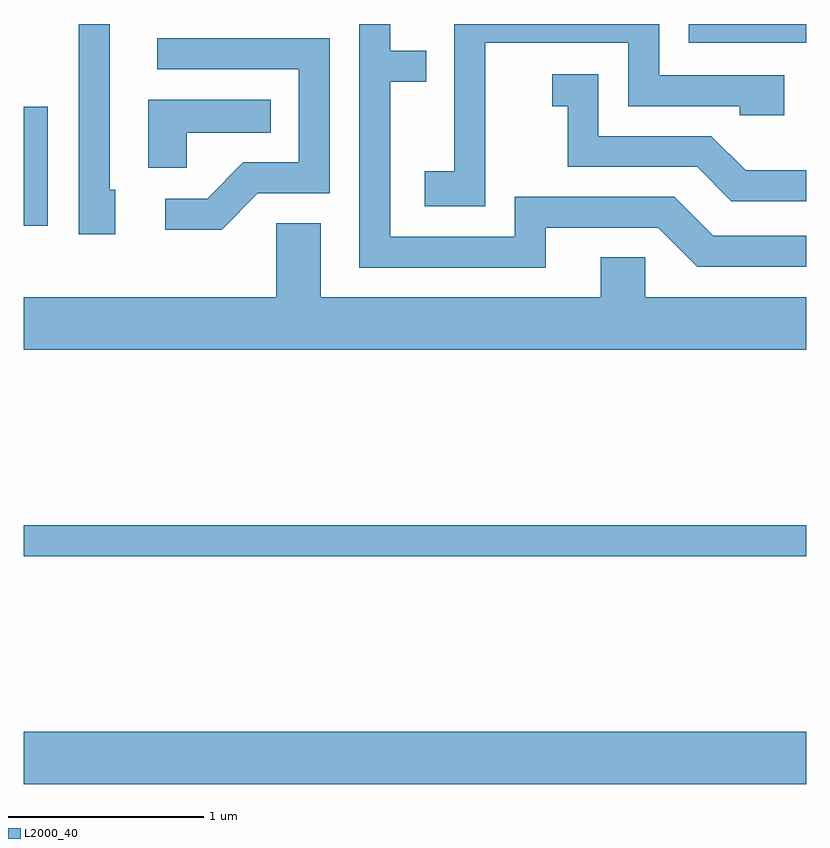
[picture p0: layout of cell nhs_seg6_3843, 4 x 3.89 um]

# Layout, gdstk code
import gdstk
lib = gdstk.Library(unit=1e-6, precision=1e-09)
def R(c, l, rs):  # rectangles x0, y0, x1, y1
    for r in rs: c.add(gdstk.rectangle(r[:2], r[2:], *l))
def P(c, l, *ps):  # polygons
    for p in ps: c.add(gdstk.Polygon(p, *l))
L2000_40 = (2000, 40)

nhs_seg6_3843 = lib.new_cell('nhs_seg6_3843')
R(nhs_seg6_3843, L2000_40, [(301.611,1532.276,305.611,1532.544), (301.611,1533.441,305.611,1533.599), (301.611,1535.131,301.734,1535.738), (305.011,1536.066,305.611,1536.162)])
P(nhs_seg6_3843, L2000_40, [(303.969,1536.066),(304.701,1536.066),(304.701,1535.741),(305.271,1535.741),(305.271,1535.696),(305.499,1535.696),(305.499,1535.899),(304.859,1535.899),(304.859,1536.162),(303.811,1536.162),(303.811,1535.409),(303.661,1535.409),(303.661,1535.231),(303.969,1535.231)],
  [(302.079,1535.314),(302.049,1535.314),(302.049,1536.162),(301.891,1536.162),(301.891,1535.086),(302.079,1535.086)],
  [(304.279,1535.121),(304.854,1535.121),(305.054,1534.921),(305.611,1534.921),(305.611,1535.079),(305.137,1535.079),(304.937,1535.279),(304.121,1535.279),(304.121,1535.074),(303.484,1535.074),(303.484,1535.866),(303.668,1535.866),(303.668,1536.024),(303.484,1536.024),(303.484,1536.162),(303.326,1536.162),(303.326,1534.916),(304.279,1534.916)],
  [(302.807,1535.296),(303.174,1535.296),(303.174,1536.089),(302.293,1536.089),(302.293,1535.931),(303.016,1535.931),(303.016,1535.454),(302.734,1535.454),(302.549,1535.269),(302.333,1535.269),(302.333,1535.111),(302.622,1535.111)],
  [(305.611,1535.414),(305.302,1535.414),(305.127,1535.589),(304.549,1535.589),(304.549,1535.904),(304.313,1535.904),(304.313,1535.741),(304.391,1535.741),(304.391,1535.431),(305.054,1535.431),(305.229,1535.256),(305.611,1535.256)],
  [(302.444,1535.606),(302.873,1535.606),(302.873,1535.774),(302.246,1535.774),(302.246,1535.426),(302.444,1535.426)],
  [(305.611,1534.764),(304.789,1534.764),(304.789,1534.969),(304.561,1534.969),(304.561,1534.764),(303.129,1534.764),(303.129,1535.144),(302.901,1535.144),(302.901,1534.764),(301.611,1534.764),(301.611,1534.496),(305.611,1534.496)])

lib.write_gds('nhs_seg6_3843.gds')
